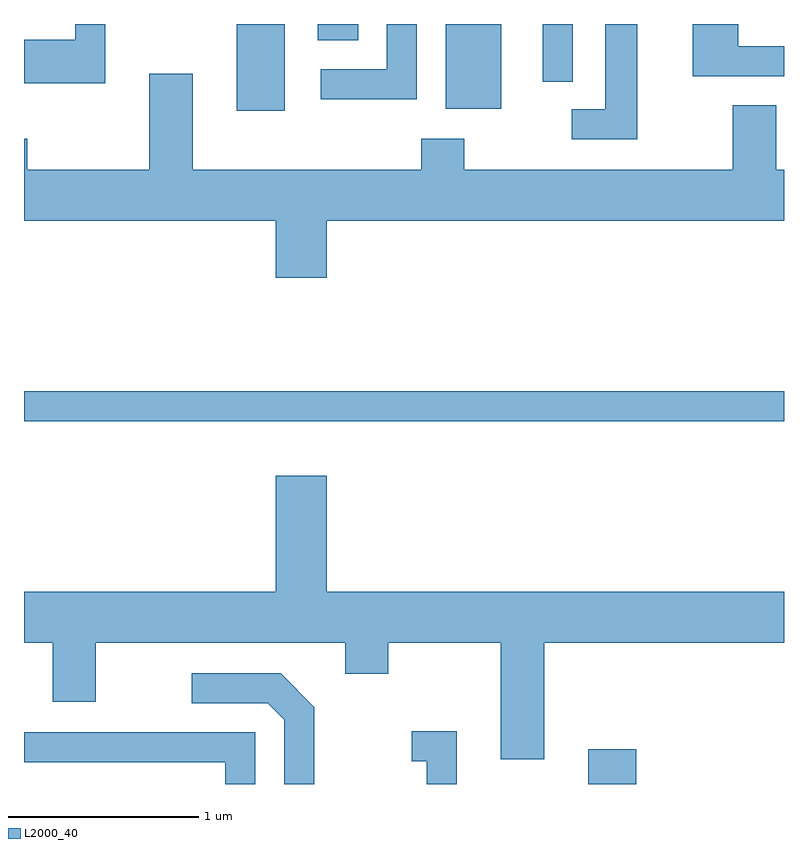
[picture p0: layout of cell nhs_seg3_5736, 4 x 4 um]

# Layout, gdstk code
import gdstk
lib = gdstk.Library(unit=1e-6, precision=1e-09)
def R(c, l, rs):  # rectangles x0, y0, x1, y1
    for r in rs: c.add(gdstk.rectangle(r[:2], r[2:], *l))
def P(c, l, *ps):  # polygons
    for p in ps: c.add(gdstk.Polygon(p, *l))
L2000_40 = (2000, 40)

nhs_seg3_5736 = lib.new_cell('nhs_seg3_5736')
R(nhs_seg3_5736, L2000_40, [(356.581,1171.892,356.834,1172.074), (353.611,1173.801,357.611,1173.959), (354.731,1175.436,354.984,1175.892), (355.831,1175.446,356.124,1175.892), (356.341,1175.588,356.499,1175.892), (355.156,1175.806,355.369,1175.892)])
P(nhs_seg3_5736, L2000_40, [(354.039,1175.892),(353.881,1175.892),(353.881,1175.809),(353.611,1175.809),(353.611,1175.581),(354.039,1175.581)],
  [(356.839,1175.892),(356.671,1175.892),(356.671,1175.444),(356.493,1175.444),(356.493,1175.286),(356.839,1175.286)],
  [(357.611,1175.774),(357.369,1175.774),(357.369,1175.892),(357.131,1175.892),(357.131,1175.616),(357.611,1175.616)],
  [(355.679,1175.892),(355.521,1175.892),(355.521,1175.654),(355.173,1175.654),(355.173,1175.496),(355.679,1175.496)],
  [(355.204,1174.856),(357.611,1174.856),(357.611,1175.124),(357.569,1175.124),(357.569,1175.464),(357.341,1175.464),(357.341,1175.124),(355.929,1175.124),(355.929,1175.289),(355.701,1175.289),(355.701,1175.124),(354.499,1175.124),(354.499,1175.629),(354.271,1175.629),(354.271,1175.124),(353.629,1175.124),(353.629,1175.289),(353.611,1175.289),(353.611,1174.856),(354.936,1174.856),(354.936,1174.556),(355.204,1174.556)],
  [(356.349,1172.636),(357.611,1172.636),(357.611,1172.904),(355.204,1172.904),(355.204,1173.514),(354.936,1173.514),(354.936,1172.904),(353.611,1172.904),(353.611,1172.636),(353.761,1172.636),(353.761,1172.326),(353.989,1172.326),(353.989,1172.636),(355.301,1172.636),(355.301,1172.471),(355.529,1172.471),(355.529,1172.636),(356.121,1172.636),(356.121,1172.021),(356.349,1172.021)],
  [(355.139,1172.297),(354.962,1172.474),(354.493,1172.474),(354.493,1172.316),(354.894,1172.316),(354.981,1172.229),(354.981,1171.892),(355.139,1171.892)],
  [(355.889,1172.169),(355.653,1172.169),(355.653,1172.011),(355.731,1172.011),(355.731,1171.892),(355.889,1171.892)],
  [(354.829,1172.164),(353.611,1172.164),(353.611,1172.006),(354.671,1172.006),(354.671,1171.892),(354.829,1171.892)])

lib.write_gds('nhs_seg3_5736.gds')
